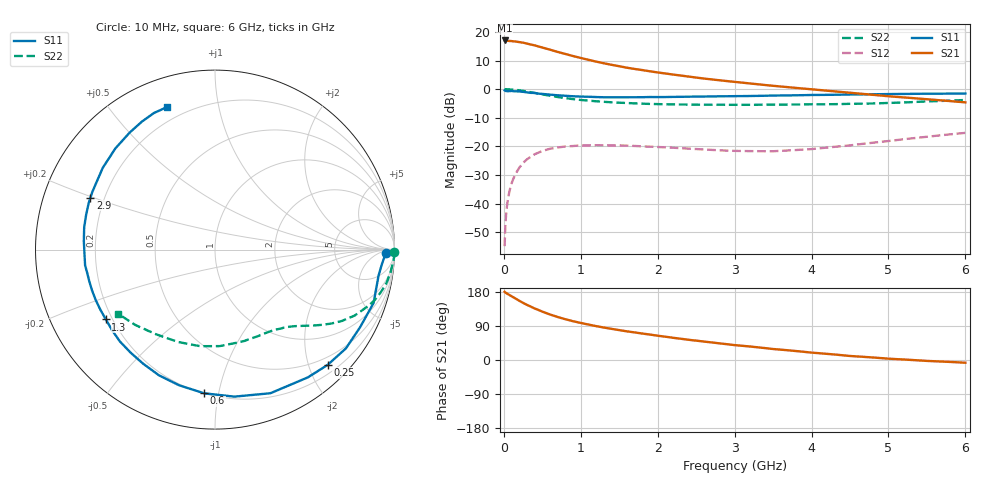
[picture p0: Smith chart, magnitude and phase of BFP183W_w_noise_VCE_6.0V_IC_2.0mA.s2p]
! Infineon Technologies  Discrete & RF Semiconductors
! BFP183W
! VCE =  6.0 V,  IC =  2.0 mA
! Common Emitter S-Parameters:  Jan 2017
# GHz  S  MA  R  50
!  f  S11  S21  S12  S22
! GHz  MAG  ANG  MAG  ANG  MAG  ANG  MAG  ANG
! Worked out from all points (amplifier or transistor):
!   77 points, 10 MHz to 6 GHz, reference 50 ohm
!   highest |S21| = 17.0 dB at 10 MHz (marker M1)
!   |S21| within 3 dB of that: start of sweep to 570 MHz
!   unconditionally stable (mu >= 1): 2.827 GHz to 4.748 GHz
!   at 130 MHz: K = 0.04, MSG = 23.8 dB, |S12| = -30.9 dB
!   at 2.2 GHz: K = 0.78, MSG = 12.8 dB, |S12| = -20.5 dB
!   at 6 GHz: K = 0.77, MSG = 5.3 dB, |S12| = -15.3 dB
!   lowest NFmin = 0.76 dB at 450 MHz
!   S11 on the Smith chart (normalised r, x): 10 MHz: 35, -14; 250 MHz: 0.35, -2.33; 600 MHz: 0.20, -0.91; 1.3 GHz: 0.18, -0.28; 2.9 GHz: 0.15, +0.20; 6 GHz: 0.13, +0.71
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0.01  0.9517 -1.1  7.104 180.0  0.0018 78.8  1 -0.8
0.02  0.933 -5.1  7.072 177.9  0.0042 93.4  1 -1.6
0.03  0.9291 -6.4  7.047 176.7  0.0065 88.2  0.9991 -2.3
0.07  0.9234 -12.9  6.966 171.9  0.0156 81.8  0.9912 -5.2
0.15  0.9168 -28.1  6.815 162.4  0.0326 74.4  0.9735 -11.0
0.25  0.898 -45.7  6.499 150.7  0.0514 64.5  0.9342 -17.4
0.3  0.88 -54.0  6.27 145.5  0.0593 60.4  0.9095 -20.2
0.4  0.8577 -68.9  5.837 136.0  0.0727 51.7  0.8604 -25.3
0.5  0.8263 -82.5  5.342 127.7  0.083 45.0  0.8118 -29.3
0.6  0.8028 -94.3  4.901 120.1  0.0909 39.3  0.7672 -32.5
0.7  0.782 -104.8  4.477 113.5  0.0955 34.3  0.7289 -35.1
0.8  0.7669 -114.0  4.124 107.6  0.0996 30.6  0.6971 -37.3
0.9  0.7512 -122.3  3.792 102.3  0.1014 27.0  0.6695 -39.3
1.1  0.7367 -136.0  3.258 93.5  0.104 21.8  0.6304 -42.5
1.3  0.7217 -147.4  2.835 85.6  0.1044 17.5  0.6012 -45.5
1.6  0.7218 -161.5  2.373 75.6  0.1029 13.4  0.5732 -50.1
2.1  0.7286 179.8  1.879 61.5  0.0961 10.9  0.5444 -58.4
2.9  0.752 157.3  1.385 41.7  0.0843 15.5  0.5334 -74.3
3.1  0.7567 152.7  1.299 37.5  0.083 18.7  0.5324 -78.5
4.1  0.793 132.8  0.967 17.9  0.0924 36.9  0.5442 -101.4
5.1  0.8231 118.6  0.734 2.4  0.1286 46.0  0.5794 -127.1
6  0.8377 108.7  0.588 -7.2  0.1722 44.7  0.6476 -146.5
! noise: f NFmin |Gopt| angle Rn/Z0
0.45  0.76  0.48  45  0.22
0.9  0.95  0.41  86  0.19
1.9  1.77  0.52  156  0.09
2.4  2.08  0.55  173  0.09
